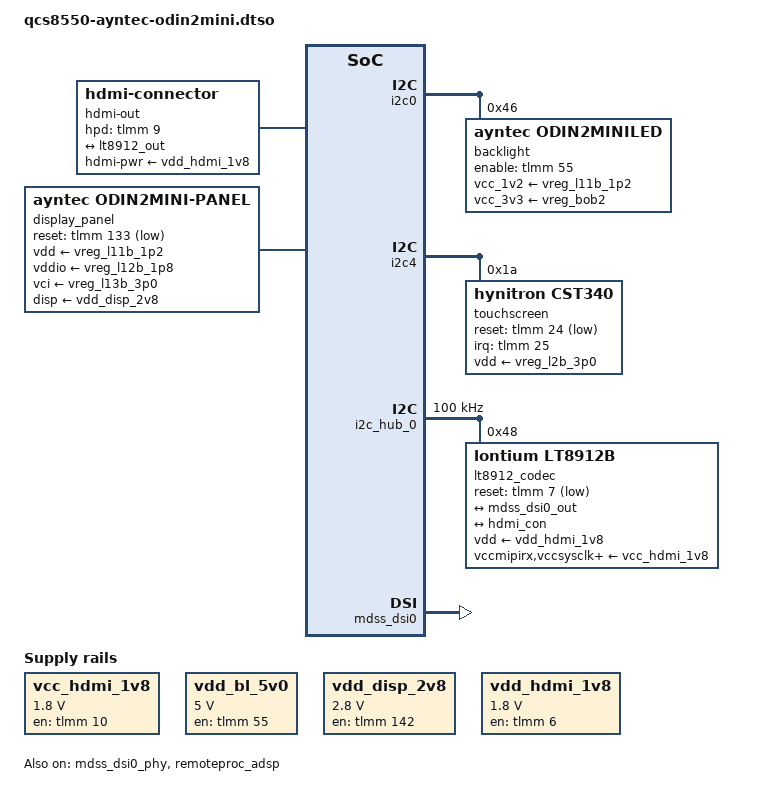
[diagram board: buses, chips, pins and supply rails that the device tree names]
// SPDX-License-Identifier: BSD-3-Clause
/*
 * Copyright (c) 2025, Teguh Sobirin.
 */

#include <dt-bindings/gpio/gpio.h>
#include <dt-bindings/interrupt-controller/irq.h>

/dts-v1/;
/plugin/;

&{/} {
	model = "AYN Odin 2 Mini";
	compatible = "ayntec,odin2mini", "qcom,qcs8550", "qcom,sm8550";

	hdmi-out {
		compatible = "hdmi-connector";
		type = "d";
		hpd-gpios = <&tlmm 9 GPIO_ACTIVE_HIGH>;
		hdmi-pwr-supply = <&vdd_hdmi_1v8>;

		port {
			hdmi_con: endpoint {
				remote-endpoint = <&lt8912_out>;
			};
		};
	};

	vcc_hdmi_1v8: vcc-hdmi-1v8-regulator {
		compatible = "regulator-fixed";
		regulator-name = "vcc_hdmi_1v8";

		regulator-min-microvolt = <1800000>;
		regulator-max-microvolt = <1800000>;

		gpio = <&tlmm 10 GPIO_ACTIVE_HIGH>;
		enable-active-high;
	};

	vdd_bl_5v0: vdd-bl-5v0-regulator {
		compatible = "regulator-fixed";
		regulator-name = "vdd_bl_5v0";

		regulator-min-microvolt = <5000000>;
		regulator-max-microvolt = <5000000>;

		gpio = <&tlmm 55 GPIO_ACTIVE_HIGH>;
		enable-active-high;
	};

	vdd_disp_2v8: vdd-disp-2v8-regulator {
		compatible = "regulator-fixed";
		regulator-name = "vdd_disp_2v8";

		regulator-min-microvolt = <2800000>;
		regulator-max-microvolt = <2800000>;

		gpio = <&tlmm 142 GPIO_ACTIVE_HIGH>;
		enable-active-high;
	};

	vdd_hdmi_1v8: vdd-hdmi-1v8-regulator {
		compatible = "regulator-fixed";
		regulator-name = "vdd_hdmi_1v8";

		regulator-min-microvolt = <1800000>;
		regulator-max-microvolt = <1800000>;

		gpio = <&tlmm 6 GPIO_ACTIVE_HIGH>;
		enable-active-high;
	};
};

&display_panel {
	compatible = "ayntec,odin2mini-panel";

	pinctrl-0 = <&dsi_p_rst_active>, <&dsi_p_te_active>;
	pinctrl-1 = <&dsi_p_rst_suspend>, <&dsi_p_te_suspend>;
	pinctrl-names = "default", "sleep";

	vdd-supply = <&vreg_l11b_1p2>;
	vddio-supply = <&vreg_l12b_1p8>;
	vci-supply = <&vreg_l13b_3p0>;
	disp-supply = <&vdd_disp_2v8>;
	blvdd-supply = <&vdd_bl_5v0>;

	reset-gpios = <&tlmm 133 GPIO_ACTIVE_LOW>;

	rotation = <90>;
};

&i2c0 {
	#address-cells = <1>;
	#size-cells = <0>;

	backlight: backlight@46 {
		compatible = "ayntec,odin2miniled";
		reg = <0x46>;
		enable-gpios = <&tlmm 55 GPIO_ACTIVE_HIGH>;
		vcc_1v2-supply = <&vreg_l11b_1p2>;
		vcc_3v3-supply = <&vreg_bob2>;
	};
};

&i2c4 {
	#address-cells = <1>;
	#size-cells = <0>;

	touchscreen@1a {
		compatible = "hynitron,cst340";
		reg = <0x1a>;
		interrupt-parent = <&tlmm>;
		interrupts = <25 IRQ_TYPE_EDGE_FALLING>;
		reset-gpios = <&tlmm 24 GPIO_ACTIVE_LOW>;
		vdd-supply = <&vreg_l2b_3p0>;

		pinctrl-0 = <&ts_p_rst_default &ts_p_int_default>;
		pinctrl-1 = <&ts_p_rst_sleep &ts_p_int_sleep>;
		pinctrl-names = "default", "sleep";

		hynitron,skip-bootloader;
		touchscreen-size-x = <1920>;
		touchscreen-size-y = <1080>;
	};
};

&i2c_hub_0 {
	clock-frequency = <100000>;
	status = "okay";

	#address-cells = <1>;
	#size-cells = <0>;

	lt8912_codec: hdmi-bridge@48 {
		compatible = "lontium,lt8912b";
		reg = <0x48> ;

		reset-gpios = <&tlmm 7 GPIO_ACTIVE_LOW>;

		vdd-supply = <&vdd_hdmi_1v8>;
		vccmipirx-supply = <&vcc_hdmi_1v8>;
		vccsysclk-supply = <&vcc_hdmi_1v8>;
		vcclvdstx-supply = <&vcc_hdmi_1v8>;
		vcchdmitx-supply = <&vcc_hdmi_1v8>;
		vcclvdspll-supply = <&vcc_hdmi_1v8>;
		vcchdmipll-supply = <&vcc_hdmi_1v8>;

		ports {
			#address-cells = <1>;
			#size-cells = <0>;

			port@0 {
				reg = <0>;

				hdmi_out_in: endpoint {
					data-lanes = <1 2 3 4>;
					remote-endpoint = <&mdss_dsi0_out>;
				};
			};

			port@1 {
				reg = <1>;

				lt8912_out: endpoint {
					remote-endpoint = <&hdmi_con>;
				};
			};
		};
	};
};

&mdss_dsi0 {
	vdda-supply = <&vreg_l3e_1p2>;
	status = "okay";
};

&mdss_dsi0_out {
	remote-endpoint = <&hdmi_out_in>;
	data-lanes = <0 1 2 3>;
};

&mdss_dsi0_phy {
	vdds-supply = <&vreg_l1e_0p88>;
	status = "okay";
};

&remoteproc_adsp {
	firmware-name = "qcom/sm8550/ayntec/odin2mini/adsp.mbn",
			"qcom/sm8550/ayntec/odin2mini/adsp_dtb.mbn";
	status = "okay";
};

&spk_amp_l {
	firmware-name = "qcom/sm8550/ayntec/odin2mini/aw883xx_acf.bin";
};

&spk_amp_r {
	firmware-name = "qcom/sm8550/ayntec/odin2mini/aw883xx_acf.bin";
};

